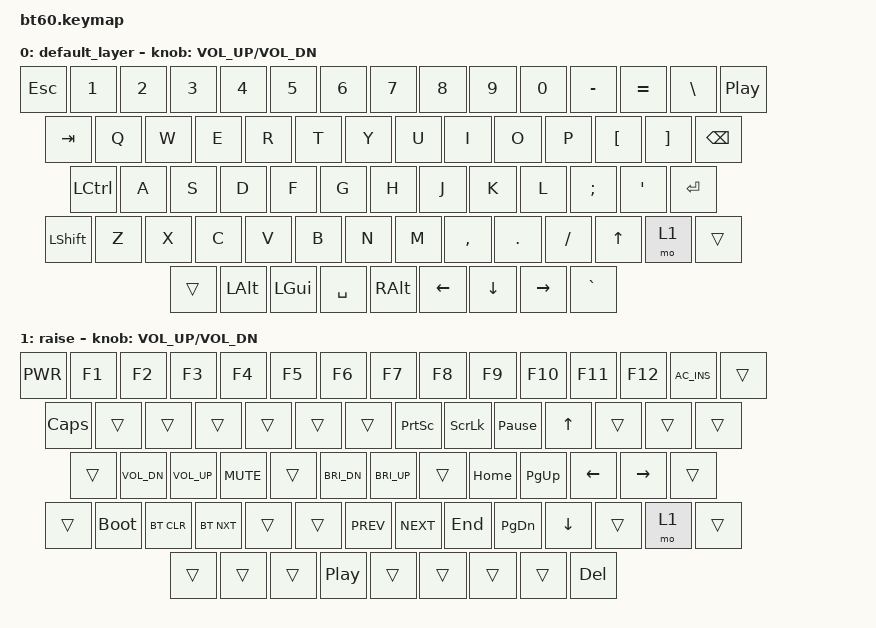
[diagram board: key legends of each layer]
#include <behaviors.dtsi>
#include <dt-bindings/zmk/keys.h>
#include <dt-bindings/zmk/bt.h>

/ {
	keymap {
		compatible = "zmk,keymap";

		default_layer {
				// ------------------------------------------------------------------------------------------
				// | ESC |  1  |  2  |  3  |  4  |  5  |  6  |  7  |  8  |  9  |  0  |  -  |  =  |   BKSP   |
				// | TAB  |  Q  |  W  |  E  |  R  |  T  |  Y  |  U  |  I  |  O  |  P  |  [  |  ]  |   "|"   |
				// | CAPS  |  A  |  S  |  D  |  F  |  G  |  H  |  J  |  K  |  L  |  ;  |  '  |     ENTER    |
				// |  SHIFT    |  Z  |  X  |  C  |  V  |  B  |  N  |  M  |  ,  |  .  | /   | SHFT | UP | 1  |
				// |  CTL  |  WIN  |  ALT  |            SPACE              | ALT | CTRL | LEFT | DOWN | RIGHT |
				// ------------------------------------------------------------------------------------------
			bindings = <
   &kp ESC     &kp N1    &kp N2    &kp N3     &kp N4    &kp N5             &kp N6       &kp N7     &kp N8      &kp N9    &kp N0  &kp MINUS  &kp EQUAL  &kp BSLH &kp C_PP
   &kp TAB      &kp Q     &kp W     &kp E      &kp R     &kp T             &kp Y        &kp U      &kp I       &kp O     &kp P   &kp LBKT   &kp RBKT  &kp BSPC
  &kp LCTRL      &kp A     &kp S     &kp D      &kp F     &kp G             &kp H        &kp J      &kp K       &kp L  &kp SEMI    &kp SQT    &kp RET
 &kp LSHFT      &kp Z     &kp X     &kp C      &kp V     &kp B             &kp N        &kp M  &kp COMMA     &kp DOT  &kp FSLH  &kp UP    &mo 1  &trans
                &trans    &kp LALT  &kp LGUI   &kp SPACE  &kp RALT          &kp LEFT       &kp DOWN  &kp RIGHT  &kp GRAVE
			>;
			sensor-bindings = <&inc_dec_kp C_VOL_UP C_VOL_DN>;
		};
		raise {
			bindings = <
				  &kp C_PWR       &kp F1       &kp F2      &kp F3  &kp F4       &kp F5            &kp F6  &kp F7      &kp F8   &kp F9    &kp F10     &kp F11          &kp F12  &kp C_AC_INS &trans
     &kp CAPS    &trans          &trans    &trans   &trans        &trans           &trans  &kp PSCRN   &kp SLCK &kp PAUSE_BREAK &kp UP &trans &trans &trans
     &trans       &kp C_VOL_DN  &kp C_VOL_UP   &kp C_MUTE          &trans            &kp C_BRI_DN &kp C_BRI_UP &trans &kp HOME &kp PG_UP &kp LEFT &kp RIGHT &trans
     &trans       &bootloader   &bt BT_CLR   &bt BT_NXT        &trans            &trans  &kp C_PREV &kp C_NEXT &kp END &kp PG_DN &kp DOWN &trans &mo 1 &trans
                   &trans       &trans         &trans  &kp C_PP  &trans          &trans     &trans  &trans  &kp DEL
			>;
			sensor-bindings = <&inc_dec_kp C_VOL_UP C_VOL_DN>;
		};
	};
};
